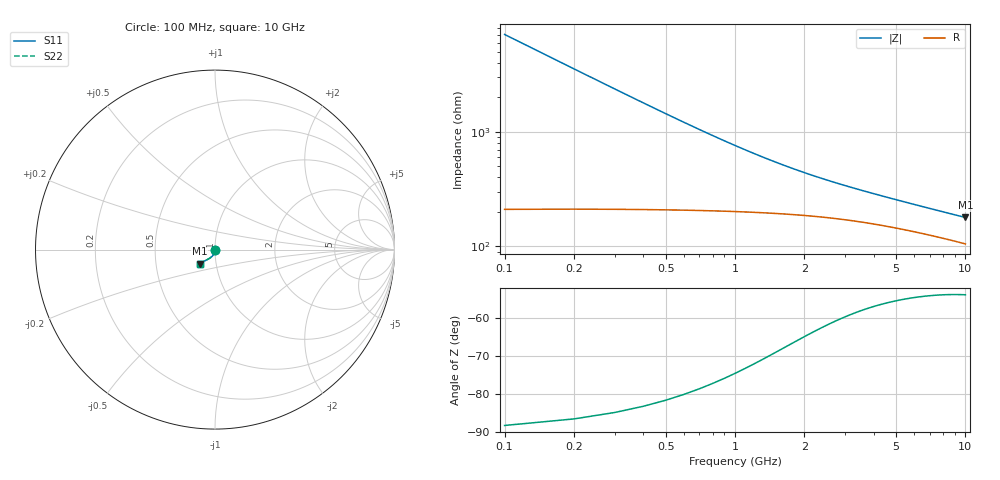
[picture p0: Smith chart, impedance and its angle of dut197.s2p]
! Touchstone file exported from HFSS 2024.1.0
!  File:  C:/UserFiles/LocalFiles/RDL_TSV_Batchsim/temp_TSV1_197_1778757065.aedt
!  Generated:  07:15:05 PM May 14, 2026
!  Design:  TSV1
!  Project:  temp_TSV1_197_1778757065
!  Setup:  Setup1
!  Solution:  Sweep
! Variables:
!  dtsv = 22.58um
!  hbump = 3um
!  htsv = 82.55um
!  lrdl = 252.1521522um
!  p = 40
!  p1 = 50.83um
!  t = 500um
!  trdl = 3um
!  wrdl = 24.89489489um
# GHz S MA R 50.000000
! Terminal data exported
! Port[1] = TSV22_T1
! Port[2] = TSV22_T2
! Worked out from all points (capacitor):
!   100 points, 100 MHz to 10 GHz, reference 50 ohm
!   read as one part in shunt: C = 225 fF near 100 MHz
!   lowest |Z| = 179 ohm at 10 GHz (marker M1)
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0.1  0.003279 -90.6  0.9998 -0.2  0.9998 -0.2  0.003279 -90.6
! Gamma 0 0 0 0
! Port Impedance 50 0 50 0
0.2  0.006543 -93.2  0.9995 -0.4  0.9995 -0.4  0.006543 -93.2
0.3  0.009777 -95.4  0.9989 -0.6  0.9989 -0.6  0.009777 -95.4
0.4  0.01297 -97.3  0.9981 -0.8  0.9981 -0.8  0.01297 -97.3
0.5  0.0161 -99.2  0.9972 -1.0  0.9972 -1.0  0.0161 -99.2
0.6  0.01916 -101.0  0.996 -1.2  0.996 -1.2  0.01916 -101.0
0.7  0.02213 -102.8  0.9948 -1.4  0.9948 -1.4  0.02213 -102.8
0.8  0.02501 -104.5  0.9935 -1.6  0.9935 -1.6  0.02501 -104.5
0.9  0.02779 -106.1  0.992 -1.8  0.992 -1.8  0.02779 -106.1
1.1  0.03305 -109.1  0.989 -2.1  0.989 -2.1  0.03305 -109.1
1.4  0.04014 -113.1  0.9842 -2.5  0.9842 -2.5  0.04014 -113.1
1.6  0.04436 -115.4  0.9811 -2.7  0.9811 -2.7  0.04436 -115.4
1.8  0.04822 -117.5  0.978 -2.9  0.978 -2.9  0.04822 -117.5
2.1  0.05342 -120.2  0.9736 -3.2  0.9736 -3.2  0.05342 -120.2
2.5  0.05943 -123.1  0.9682 -3.5  0.9682 -3.5  0.05943 -123.1
2.9  0.06465 -125.5  0.9634 -3.8  0.9634 -3.8  0.06465 -125.5
3.4  0.07035 -127.7  0.9581 -4.1  0.9581 -4.1  0.07035 -127.7
4.2  0.07817 -130.3  0.9508 -4.5  0.9508 -4.5  0.07817 -130.3
5.1  0.08571 -132.4  0.944 -5.0  0.944 -5.0  0.08571 -132.4
6.7  0.09698 -134.8  0.9342 -5.7  0.9342 -5.7  0.09698 -134.8
8.4  0.1069 -136.4  0.9259 -6.4  0.9259 -6.4  0.1069 -136.4
10  0.1151 -137.4  0.9194 -7.1  0.9194 -7.1  0.1151 -137.4
